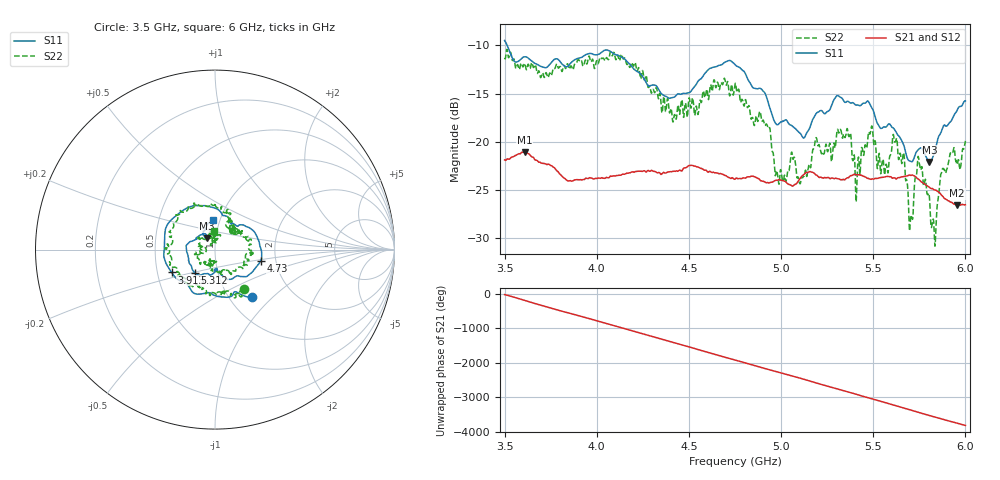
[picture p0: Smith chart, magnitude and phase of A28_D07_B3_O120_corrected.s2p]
! Created with skrf 1.9.0 (http://scikit-rf.org).
# Hz S RI R 50.0
!freq ReS11 ImS11 ReS21 ImS21 ReS12 ImS12 ReS22 ImS22
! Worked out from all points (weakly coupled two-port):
!   1601 points, 3.5 GHz to 6 GHz, reference 50 ohm
!   highest |S21| = -21.06 dB at 3.609 GHz (marker M1); lowest = -26.6 dB at 5.955 GHz (marker M2)
!   lowest |S11| = -22.1 dB at 5.805 GHz (marker M3), VSWR 1.17, Z = 45.1 + j5.68 ohm
!   |S11| at or under -10 dB: 3.514 GHz to end of sweep
!   |S22| runs from -30.8 to -10.4 dB; largest |S21 - S12| = 0.0011
!   S11 on the Smith chart (normalised r, x): 3.5 GHz: 1.26, -0.76; 3.913 GHz: 0.59, -0.16; 4.73 GHz: 1.66, -0.22; 5.312 GHz: 0.78, -0.21; 6 GHz: 0.93, +0.31
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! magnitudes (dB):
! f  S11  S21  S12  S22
! 3.5 GHz  -9.5  -21.9  -21.9  -11.3
! 3.609 GHz  -11.2  -21.1  -21.1  -11.9
! 3.913 GHz  -11.3  -23.9  -23.9  -11.6
! 3.917 GHz  -11.2  -24.0  -23.9  -11.6
! 4.334 GHz  -14.5  -23.2  -23.2  -15.5
! 4.73 GHz  -11.6  -23.8  -23.7  -14.2
! 4.75 GHz  -12.0  -23.9  -23.8  -14.0
! 4.93 GHz  -15.9  -24.3  -24.2  -18.6
! 4.98 GHz  -18.2  -24.0  -24.0  -23.3
! 5.167 GHz  -17.9  -23.2  -23.1  -21.5
! 5.312 GHz  -15.3  -23.9  -23.8  -19.1
! 5.414 GHz  -16.2  -23.4  -23.5  -22.7
! 5.484 GHz  -16.2  -23.9  -23.9  -19.1
! 5.584 GHz  -18.2  -23.6  -23.6  -22.4
! 5.658 GHz  -20.0  -23.6  -23.6  -21.9
! 5.705 GHz  -22.1  -23.5  -23.5  -27.7
! 5.75 GHz  -20.7  -24.0  -23.9  -22.3
! 5.805 GHz  -22.1  -24.7  -24.7  -25.7
! 5.83 GHz  -21.3  -25.0  -25.0  -28.9
! 5.873 GHz  -18.7  -25.6  -25.6  -23.0
! 5.955 GHz  -16.8  -26.6  -26.6  -22.4
! 6 GHz  -15.8  -26.5  -26.5  -19.9
